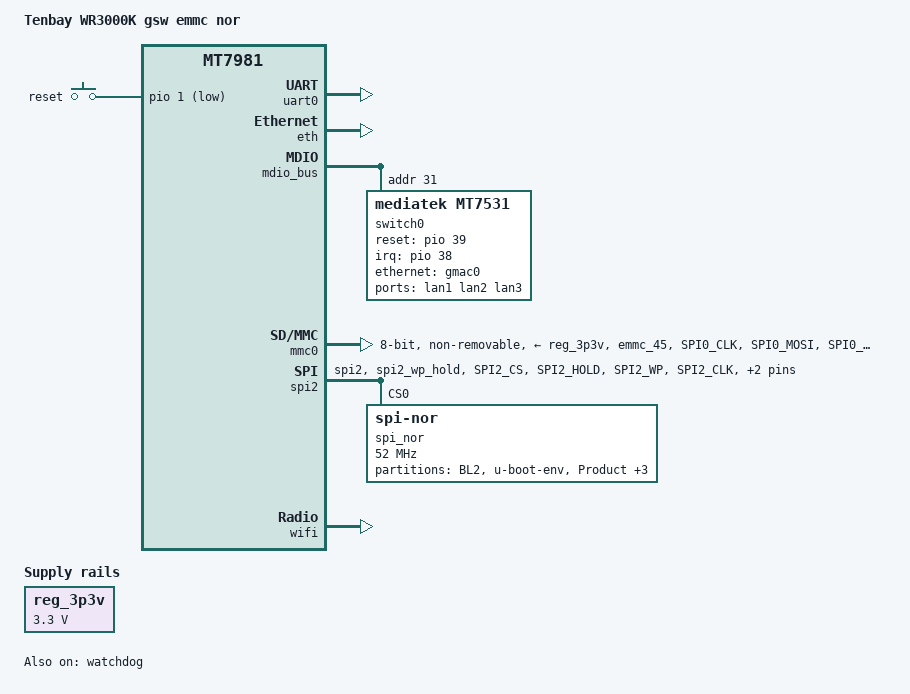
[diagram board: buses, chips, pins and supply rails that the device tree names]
/dts-v1/;

#include "mt7981.dtsi"

/ {
	model = "Tenbay WR3000K gsw emmc nor";
	compatible = "tenbay,wr3000k-gsw-emmc-nor", "mediatek,mt7981";

	aliases {
		ethernet0 = &gmac0;
		ethernet1 = &gmac1;
		serial0 = &uart0;
	};

	chosen {
		stdout-path = "serial0:115200n8";
	};

	gpio-keys {
		compatible = "gpio-keys";

		reset {
			label = "reset";
			linux,code = <KEY_RESTART>;
			gpios = <&pio 1 GPIO_ACTIVE_LOW>;
		};
	};

	reg_3p3v: regulator-3p3v {
		compatible = "regulator-fixed";
		regulator-name = "fixed-3.3V";
		regulator-min-microvolt = <3300000>;
		regulator-max-microvolt = <3300000>;
		regulator-boot-on;
		regulator-always-on;
	};
};

&uart0 {
	status = "okay";
};

&watchdog {
	status = "okay";
};

&eth {
	pinctrl-names = "default";
	pinctrl-0 = <&mdio_pins>;

	status = "okay";

	gmac0: mac@0 {
		compatible = "mediatek,eth-mac";
		reg = <0>;
		phy-mode = "2500base-x";
		nvmem-cells = <&macaddr_2a>;
		nvmem-cell-names = "mac-address";

		fixed-link {
			speed = <2500>;
			full-duplex;
			pause;
		};
	};

	gmac1: mac@1 {
		compatible = "mediatek,eth-mac";
		reg = <1>;
		phy-mode = "gmii";
		phy-handle = <&int_gbe_phy>;
		nvmem-cells = <&macaddr_24>;
		nvmem-cell-names = "mac-address";
	};
};

&mdio_bus {
	switch0: switch@0 {
		compatible = "mediatek,mt7531";
		reg = <31>;
		dsa,member = <0 0>;
		reset-gpios = <&pio 39 GPIO_ACTIVE_HIGH>;
		interrupt-controller;
		#interrupt-cells = <1>;
		interrupt-parent = <&pio>;
		interrupts = <38 IRQ_TYPE_LEVEL_HIGH>;
	};
};

&switch0 {
	ports {
		#address-cells = <1>;
		#size-cells = <0>;

		port@0 {
			reg = <0>;
			label = "lan1";
		};

		port@1 {
			reg = <1>;
			label = "lan2";
		};

		port@2 {
			reg = <2>;
			label = "lan3";
		};

		port@6 {
			reg = <6>;
			ethernet = <&gmac0>;
			phy-mode = "2500base-x";

			fixed-link {
				speed = <2500>;
				full-duplex;
				pause;
			};
		};
	};
};

&mmc0 {
	pinctrl-names = "default", "state_uhs";
	pinctrl-0 = <&mmc0_pins_default>;
	pinctrl-1 = <&mmc0_pins_uhs>;
	bus-width = <8>;
	max-frequency = <52000000>;
	cap-mmc-highspeed;
	vmmc-supply = <&reg_3p3v>;
	non-removable;
	status = "okay";
};

&spi2 {
	pinctrl-names = "default";
	pinctrl-0 = <&spi2_flash_pins>;
	status = "okay";

	spi_nor@0 {
		#address-cells = <1>;
		#size-cells = <1>;
		compatible = "jedec,spi-nor";
		reg = <0>;
		spi-max-frequency = <52000000>;
		spi-tx-buswidth = <4>;
		spi-rx-buswidth = <4>;

		partitions {
			compatible = "fixed-partitions";
			#address-cells = <1>;
			#size-cells = <1>;

			partition@00000 {
				label = "BL2";
				reg = <0x00000 0x0040000>;
			};
			partition@40000 {
				label = "u-boot-env";
				reg = <0x40000 0x0010000>;
			};
			partition@50000 {
				label = "Product";
				reg = <0x50000 0x0020000>;
			};
			factory: partition@70000 {
				label = "Factory";
				reg = <0x70000 0x0090000>;
			};
			partition@100000 {
				label = "FIP";
				reg = <0x100000 0x00c0000>;
			};
			partition@1c0000 {
				label = "firmware";
				reg = <0x1c0000 0xdc0000>;
			};
		};
	};
};

&pio {
	spi2_flash_pins: spi2-pins {
		mux {
			function = "spi";
			groups = "spi2", "spi2_wp_hold";
		};

		conf-pu {
			pins = "SPI2_CS", "SPI2_HOLD", "SPI2_WP";
			drive-strength = <MTK_DRIVE_8mA>;
			bias-pull-up = <MTK_PUPD_SET_R1R0_11>;
		};

		conf-pd {
			pins = "SPI2_CLK", "SPI2_MOSI", "SPI2_MISO";
			drive-strength = <MTK_DRIVE_8mA>;
			bias-pull-down = <MTK_PUPD_SET_R1R0_11>;
		};
	};

	mmc0_pins_default: mmc0-pins-default {
		mux {
			function = "flash";
			groups = "emmc_45";
		};

		conf-cmd-dat {
			pins = "SPI0_CLK", "SPI0_MOSI", "SPI0_MISO",
				"SPI0_CS",  "SPI0_HOLD", "SPI0_WP",
				"SPI1_CLK", "SPI1_MOSI", "SPI1_MISO";
			input-enable;
			drive-strength = <MTK_DRIVE_4mA>;
			bias-pull-up = <MTK_PUPD_SET_R1R0_01>;
		};

		conf-clk {
			pins = "SPI1_CS";
			drive-strength = <MTK_DRIVE_6mA>;
			bias-pull-down = <MTK_PUPD_SET_R1R0_10>;
		};

		conf-rst {
			pins = "PWM0";
			drive-strength = <MTK_DRIVE_4mA>;
			bias-pull-up = <MTK_PUPD_SET_R1R0_01>;
		};
	};

	mmc0_pins_uhs: mmc0-pins-uhs {
		mux {
			function = "flash";
			groups = "emmc_45";
		};

		conf-cmd-dat {
			pins = "SPI0_CLK", "SPI0_MOSI", "SPI0_MISO",
				"SPI0_CS",  "SPI0_HOLD", "SPI0_WP",
				"SPI1_CLK", "SPI1_MOSI", "SPI1_MISO";
			input-enable;
			drive-strength = <MTK_DRIVE_4mA>;
			bias-pull-up = <MTK_PUPD_SET_R1R0_01>;
		};

		conf-clk {
			pins = "SPI1_CS";
			drive-strength = <MTK_DRIVE_6mA>;
			bias-pull-down = <MTK_PUPD_SET_R1R0_10>;
		};

		conf-rst {
			pins = "PWM0";
			drive-strength = <MTK_DRIVE_4mA>;
			bias-pull-up = <MTK_PUPD_SET_R1R0_01>;
		};
	};
};

&factory {
	compatible = "nvmem-cells";
	#address-cells = <1>;
	#size-cells = <1>;

	macaddr_24: macaddr@24 {
		reg = <0x24 0x6>;
	};
	macaddr_2a: macaddr@2a {
		reg = <0x2a 0x6>;
	};
};

&wifi {
	mediatek,mtd-eeprom = <&factory 0x0>;

	status = "okay";
};
